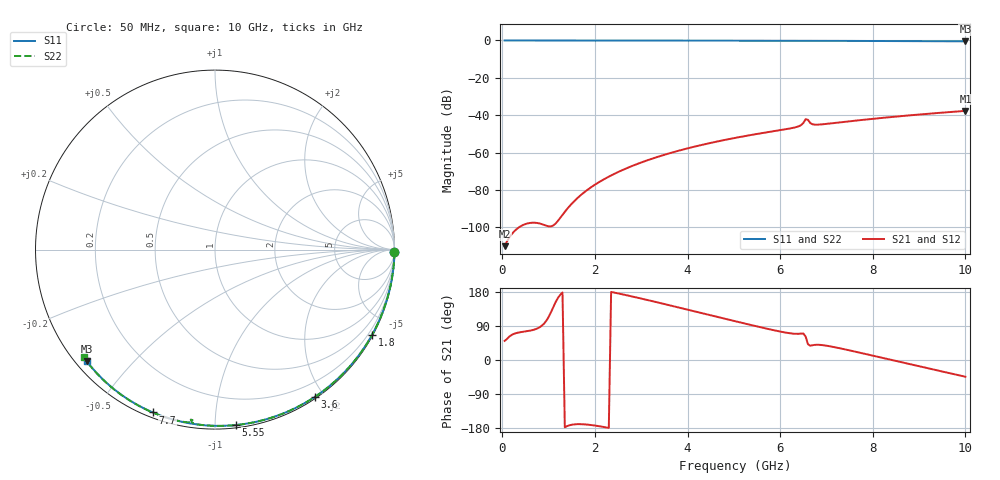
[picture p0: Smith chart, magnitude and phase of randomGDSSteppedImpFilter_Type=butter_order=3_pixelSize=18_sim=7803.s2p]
! freq	dB(S11)	phase(S11)	dB(S12)	phase(S12)
!  dB(S21)	phase(S21)	dB(S22)	phase(S22)
!S-par simulation data
#  GHz  S  DB  R 50
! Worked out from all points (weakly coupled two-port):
!   200 points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, 50 MHz to 10 GHz, reference 50 ohm
!   highest |S21| = -37.66 dB at 10 GHz (marker M1); lowest = -110.0 dB at 50 MHz (marker M2)
!   lowest |S11| = -0.5 dB at 10 GHz (marker M3), VSWR 36.91, Z = 1.54 - j18.7 ohm
!   |S11| at or under -10 dB: nowhere
!   |S22| runs from -0.5 to 0.0 dB; largest |S21 - S12| = 0
!   S11 on the Smith chart (normalised r, x): 50 MHz: open; 1.8 GHz: 0.03, -3.93; 3.6 GHz: 0.02, -1.89; 5.55 GHz: 0.02, -1.13; 7.7 GHz: 0.02, -0.69; 10 GHz: 0.03, -0.37
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0.05  -0.00 -0.8  -110.01 50.4  -110.01 50.4  -0.00 -0.8
0.9  -0.02 -14.4  -98.63 95.8  -98.63 95.8  -0.02 -14.6
1.75  -0.04 -27.8  -81.57 -169.6  -81.57 -169.6  -0.04 -28.1
1.8  -0.04 -28.6  -80.60 -170.1  -80.60 -170.1  -0.04 -28.9
1.85  -0.04 -29.3  -79.68 -170.6  -79.68 -170.6  -0.04 -29.7
2.25  -0.05 -35.5  -73.49 -178.1  -73.49 -178.1  -0.05 -36.0
2.55  -0.05 -40.1  -69.80 174.5  -69.80 174.5  -0.05 -40.6
3.4  -0.07 -52.8  -61.90 150.6  -61.90 150.6  -0.07 -53.5
3.6  -0.08 -55.8  -60.40 144.8  -60.40 144.8  -0.08 -56.5
4.3  -0.09 -65.8  -55.90 123.9  -55.90 123.9  -0.09 -66.7
5.05  -0.12 -76.3  -52.00 101.7  -52.00 101.7  -0.12 -77.3
5.55  -0.14 -83.1  -49.78 87.2  -49.78 87.2  -0.14 -84.2
6.4  -0.18 -94.4  -45.93 69.1  -45.93 69.1  -0.19 -95.9
6.5  -0.18 -95.7  -44.14 69.9  -44.14 69.9  -0.26 -97.6
6.55  -0.19 -96.3  -42.13 62.0  -42.13 62.0  -0.38 -98.1
6.6  -0.18 -96.9  -42.43 41.7  -42.43 41.7  -0.37 -97.5
6.65  -0.19 -97.6  -44.15 37.6  -44.15 37.6  -0.27 -98.1
6.7  -0.19 -98.3  -44.83 39.0  -44.83 39.0  -0.23 -98.9
6.9  -0.20 -100.8  -44.87 39.4  -44.87 39.4  -0.21 -101.8
7.7  -0.25 -110.9  -42.68 19.9  -42.68 19.9  -0.26 -112.1
8.35  -0.30 -118.9  -41.06 1.7  -41.06 1.7  -0.31 -120.3
10  -0.47 -138.9  -37.66 -44.1  -37.66 -44.1  -0.48 -140.6
